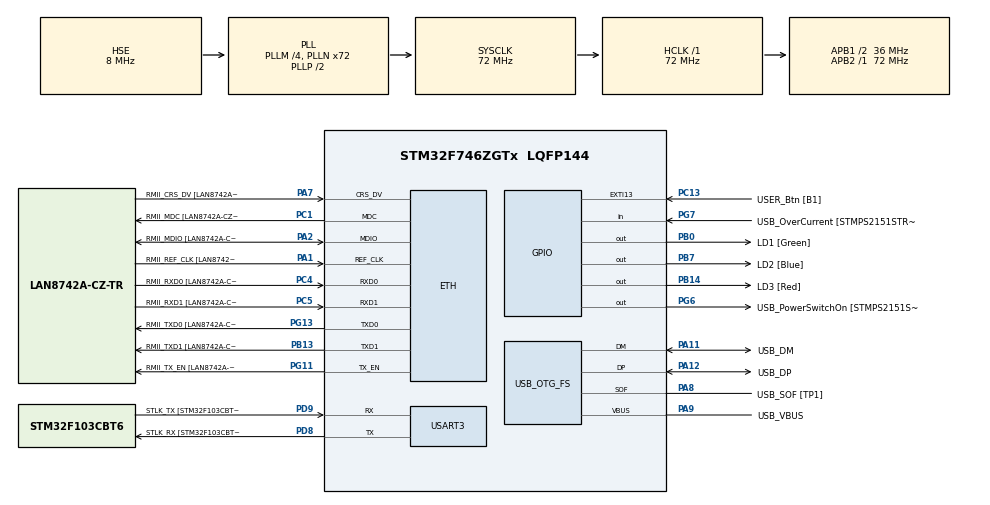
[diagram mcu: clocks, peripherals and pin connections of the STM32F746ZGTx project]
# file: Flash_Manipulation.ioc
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ETH.MediaInterface=ETH_MEDIA_INTERFACE_RMII
ETH.PHY_Name=LAN8742A_PHY_ADDRESS
ETH.PHY_Value=0
ETH.PhyAddress=0
Mcu.Family=STM32F7
Mcu.Name=STM32F746ZGTx
Mcu.Package=LQFP144
NVIC.PriorityGroup=NVIC_PRIORITYGROUP_4
PA1.GPIO_Label=RMII_REF_CLK [LAN8742A-CZ-TR_REFCLK0]
PA1.Mode=RMII
PA1.Signal=ETH_REF_CLK
PA10.GPIO_Label=USB_ID
PA10.Signal=USB_OTG_FS_ID
PA11.GPIO_Label=USB_DM
PA11.Mode=Device_Only
PA11.Signal=USB_OTG_FS_DM
PA12.GPIO_Label=USB_DP
PA12.Mode=Device_Only
PA12.Signal=USB_OTG_FS_DP
PA13.GPIO_Label=TMS
PA13.Mode=Serial_Wire
PA13.Signal=SYS_JTMS-SWDIO
PA14.GPIO_Label=TCK
PA14.Mode=Serial_Wire
PA14.Signal=SYS_JTCK-SWCLK
PA2.GPIO_Label=RMII_MDIO [LAN8742A-CZ-TR_MDIO]
PA2.Mode=RMII
PA2.Signal=ETH_MDIO
PA7.GPIO_Label=RMII_CRS_DV [LAN8742A-CZ-TR_CRS_DV]
PA7.Mode=RMII
PA7.Signal=ETH_CRS_DV
PA8.GPIO_Label=USB_SOF [TP1]
PA8.Mode=Activate_SOF_FS
PA8.Signal=USB_OTG_FS_SOF
PA9.GPIO_Label=USB_VBUS
PA9.Mode=Activate_VBUS
PA9.Signal=USB_OTG_FS_VBUS
PB0.GPIO_Label=LD1 [Green]
PB0.Signal=GPIO_Output
PB13.GPIO_Label=RMII_TXD1 [LAN8742A-CZ-TR_TXD1]
PB13.Mode=RMII
PB13.Signal=ETH_TXD1
PB14.GPIO_Label=LD3 [Red]
PB14.Signal=GPIO_Output
PB3.GPIO_Label=SW0
PB3.Signal=SYS_JTDO-SWO
PB7.GPIO_Label=LD2 [Blue]
PB7.Signal=GPIO_Output
PC1.GPIO_Label=RMII_MDC [LAN8742A-CZ-TR_MDC]
PC1.Mode=RMII
PC1.Signal=ETH_MDC
PC13.GPIO_Label=USER_Btn [B1]
PC13.Signal=GPXTI13
PC14/OSC32_IN.Mode=LSE-External-Oscillator
PC14/OSC32_IN.Signal=RCC_OSC32_IN
PC15/OSC32_OUT.Mode=LSE-External-Oscillator
PC15/OSC32_OUT.Signal=RCC_OSC32_OUT
PC4.GPIO_Label=RMII_RXD0 [LAN8742A-CZ-TR_RXD0]
PC4.Mode=RMII
PC4.Signal=ETH_RXD0
PC5.GPIO_Label=RMII_RXD1 [LAN8742A-CZ-TR_RXD1]
PC5.Mode=RMII
PC5.Signal=ETH_RXD1
PD8.GPIO_Label=STLK_RX [STM32F103CBT6_PA3]
PD8.Mode=Asynchronous
PD8.Signal=USART3_TX
PD9.GPIO_Label=STLK_TX [STM32F103CBT6_PA2]
PD9.Mode=Asynchronous
PD9.Signal=USART3_RX
PG11.GPIO_Label=RMII_TX_EN [LAN8742A-CZ-TR_TXEN]
PG11.Mode=RMII
PG11.Signal=ETH_TX_EN
PG13.GPIO_Label=RMII_TXD0 [LAN8742A-CZ-TR_TXD0]
PG13.Mode=RMII
PG13.Signal=ETH_TXD0
PG6.GPIO_Label=USB_PowerSwitchOn [STMPS2151STR_EN]
PG6.Signal=GPIO_Output
PG7.GPIO_Label=USB_OverCurrent [STMPS2151STR_FAULT]
PG7.Signal=GPIO_Input
PH0/OSC_IN.GPIO_Label=MCO [STM32F103CBT6_PA8]
PH0/OSC_IN.Mode=HSE-External-Clock-Source
PH0/OSC_IN.Signal=RCC_OSC_IN
PH1/OSC_OUT.Mode=HSE-External-Clock-Source
PH1/OSC_OUT.Signal=RCC_OSC_OUT
ProjectManager.HeapSize=0x200
ProjectManager.StackSize=0x400
ProjectManager.TargetToolchain=STM32CubeIDE
RCC.48MHZClocksFreq_Value=24000000
RCC.AHBFreq_Value=72000000
RCC.APB1CLKDivider=RCC_HCLK_DIV2
RCC.APB1Freq_Value=36000000
RCC.APB1TimFreq_Value=72000000
RCC.APB2Freq_Value=72000000
RCC.APB2TimFreq_Value=72000000
RCC.CortexFreq_Value=72000000
RCC.HCLKFreq_Value=72000000
RCC.HSE_VALUE=8000000
RCC.HSI_VALUE=16000000
RCC.PLLM=4
RCC.PLLMUL=RCC_PLL_MUL9
RCC.PLLN=72
RCC.PLLQ=3
RCC.PRESCALERUSB=RCC_USBCLKSOURCE_PLL_DIV1_5
RCC.SYSCLKFreq_VALUE=72000000
RCC.SYSCLKSource=RCC_SYSCLKSOURCE_PLLCLK
RCC.SYSCLKSourceVirtual=RCC_SYSCLKSOURCE_PLLCLK
RCC.USBFreq_Value=48000000
RCC.VCOOutputFreq_Value=144000000
USART3.VirtualMode-Asynchronous=VM_ASYNC
USB_OTG_FS.VirtualMode=Device_Only
board=NUCLEO-F746ZG

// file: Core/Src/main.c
/* USER CODE BEGIN Header */
/**
  ******************************************************************************
  * @file           : main.c
  * @brief          : Main program body
  ******************************************************************************
  * @attention
  *
  * Copyright (c) 2022 STMicroelectronics.
  * All rights reserved.
  *
  * This software is licensed under terms that can be found in the LICENSE file
  * in the root directory of this software component.
  * If no LICENSE file comes with this software, it is provided AS-IS.
  *
  ******************************************************************************
  */
/* USER CODE END Header */
#include "main.h"

/* USER CODE BEGIN Includes */
#include <stdint.h>
#include <string.h>

//#include <string.h>
/* USER CODE END Includes */

ETH_HandleTypeDef heth;

UART_HandleTypeDef huart3;

PCD_HandleTypeDef hpcd_USB_OTG_FS;

void SystemClock_Config(void);
static void MX_GPIO_Init(void);
//static void MX_ETH_Init(void);
static void MX_USART3_UART_Init(void);
static void MX_USB_OTG_FS_PCD_Init(void);
/* USER CODE BEGIN PFP */
uint32_t write_flash (uint8_t *data);
void read_flash (uint8_t *RxBuf);
uint32_t GetSector(uint32_t Address);

/* USER CODE END PFP */

int main(void)
{

  /* MCU Configuration--------------------------------------------------------*/

  /* Reset of all peripherals, Initializes the Flash interface and the Systick. */
  HAL_Init();

  /* Configure the system clock */
  SystemClock_Config();

  /* Initialize all configured peripherals */
  MX_GPIO_Init();
//  MX_ETH_Init();
  MX_USART3_UART_Init();
  MX_USB_OTG_FS_PCD_Init();
  /* USER CODE BEGIN 2 */

//  HAL_Delay(1000);
  char write[50], read[50];
  memset(write, 0, sizeof(write));
  memset(read, 0, sizeof(read));

  strcpy(write, "Testing new write on flash data");

  write_flash((uint8_t*)write);

  read_flash((uint8_t*) read);

  HAL_UART_Transmit(&huart3, (uint8_t *) read, sizeof(write), 10);
  /* USER CODE END 2 */

  /* Infinite loop */
  while (1)
  {

  }
}

void SystemClock_Config(void)
{
  RCC_OscInitTypeDef RCC_OscInitStruct = {0};
  RCC_ClkInitTypeDef RCC_ClkInitStruct = {0};

  /** Configure LSE Drive Capability
  */
  HAL_PWR_EnableBkUpAccess();

  /** Configure the main internal regulator output voltage
  */
  __HAL_RCC_PWR_CLK_ENABLE();
  __HAL_PWR_VOLTAGESCALING_CONFIG(PWR_REGULATOR_VOLTAGE_SCALE3);

  /** Initializes the RCC Oscillators according to the specified parameters
  * in the RCC_OscInitTypeDef structure.
  */
  RCC_OscInitStruct.OscillatorType = RCC_OSCILLATORTYPE_HSE;
  RCC_OscInitStruct.HSEState = RCC_HSE_BYPASS;
  RCC_OscInitStruct.PLL.PLLState = RCC_PLL_ON;
  RCC_OscInitStruct.PLL.PLLSource = RCC_PLLSOURCE_HSE;
  RCC_OscInitStruct.PLL.PLLM = 4;
  RCC_OscInitStruct.PLL.PLLN = 72;
  RCC_OscInitStruct.PLL.PLLP = RCC_PLLP_DIV2;
  RCC_OscInitStruct.PLL.PLLQ = 3;
  if (HAL_RCC_OscConfig(&RCC_OscInitStruct) != HAL_OK)
  {
    Error_Handler();
  }

  /** Initializes the CPU, AHB and APB buses clocks
  */
  RCC_ClkInitStruct.ClockType = RCC_CLOCKTYPE_HCLK|RCC_CLOCKTYPE_SYSCLK
                              |RCC_CLOCKTYPE_PCLK1|RCC_CLOCKTYPE_PCLK2;
  RCC_ClkInitStruct.SYSCLKSource = RCC_SYSCLKSOURCE_PLLCLK;
  RCC_ClkInitStruct.AHBCLKDivider = RCC_SYSCLK_DIV1;
  RCC_ClkInitStruct.APB1CLKDivider = RCC_HCLK_DIV2;
  RCC_ClkInitStruct.APB2CLKDivider = RCC_HCLK_DIV1;

  if (HAL_RCC_ClockConfig(&RCC_ClkInitStruct, FLASH_LATENCY_2) != HAL_OK)
  {
    Error_Handler();
  }
}

//static void MX_ETH_Init(void)
//{
//
//  /* USER CODE BEGIN ETH_Init 0 */
//
//  /* USER CODE END ETH_Init 0 */
//
//   static uint8_t MACAddr[6];
//
//  /* USER CODE BEGIN ETH_Init 1 */
//
//  /* USER CODE END ETH_Init 1 */
//  heth.Instance = ETH;
//  heth.Init.AutoNegotiation = ETH_AUTONEGOTIATION_ENABLE;
//  heth.Init.Speed = ETH_SPEED_100M;
//  heth.Init.DuplexMode = ETH_MODE_FULLDUPLEX;
//  heth.Init.PhyAddress = LAN8742A_PHY_ADDRESS;
//  MACAddr[0] = 0x00;
//  MACAddr[1] = 0x80;
//  MACAddr[2] = 0xE1;
//  MACAddr[3] = 0x00;
//  MACAddr[4] = 0x00;
//  MACAddr[5] = 0x00;
//  heth.Init.MACAddr = &MACAddr[0];
//  heth.Init.RxMode = ETH_RXPOLLING_MODE;
//  heth.Init.ChecksumMode = ETH_CHECKSUM_BY_HARDWARE;
//  heth.Init.MediaInterface = ETH_MEDIA_INTERFACE_RMII;
//
//  /* USER CODE BEGIN MACADDRESS */
//
//  /* USER CODE END MACADDRESS */
//
//  if (HAL_ETH_Init(&heth) != HAL_OK)
//  {
//    Error_Handler();
//  }
//  /* USER CODE BEGIN ETH_Init 2 */
//
//  /* USER CODE END ETH_Init 2 */
//
//}

static void MX_USART3_UART_Init(void)
{

  huart3.Instance = USART3;
  huart3.Init.BaudRate = 115200;
  huart3.Init.WordLength = UART_WORDLENGTH_8B;
  huart3.Init.StopBits = UART_STOPBITS_1;
  huart3.Init.Parity = UART_PARITY_NONE;
  huart3.Init.Mode = UART_MODE_TX_RX;
  huart3.Init.HwFlowCtl = UART_HWCONTROL_NONE;
  huart3.Init.OverSampling = UART_OVERSAMPLING_16;
  huart3.Init.OneBitSampling = UART_ONE_BIT_SAMPLE_DISABLE;
  huart3.AdvancedInit.AdvFeatureInit = UART_ADVFEATURE_NO_INIT;
  if (HAL_UART_Init(&huart3) != HAL_OK)
  {
    Error_Handler();
  }

}

static void MX_USB_OTG_FS_PCD_Init(void)
{

  hpcd_USB_OTG_FS.Instance = USB_OTG_FS;
  hpcd_USB_OTG_FS.Init.dev_endpoints = 6;
  hpcd_USB_OTG_FS.Init.speed = PCD_SPEED_FULL;
  hpcd_USB_OTG_FS.Init.dma_enable = DISABLE;
  hpcd_USB_OTG_FS.Init.phy_itface = PCD_PHY_EMBEDDED;
  hpcd_USB_OTG_FS.Init.Sof_enable = ENABLE;
  hpcd_USB_OTG_FS.Init.low_power_enable = DISABLE;
  hpcd_USB_OTG_FS.Init.lpm_enable = DISABLE;
  hpcd_USB_OTG_FS.Init.vbus_sensing_enable = ENABLE;
  hpcd_USB_OTG_FS.Init.use_dedicated_ep1 = DISABLE;
  if (HAL_PCD_Init(&hpcd_USB_OTG_FS) != HAL_OK)
  {
    Error_Handler();
  }

}

static void MX_GPIO_Init(void)
{
  GPIO_InitTypeDef GPIO_InitStruct = {0};

  /* GPIO Ports Clock Enable */
  __HAL_RCC_GPIOC_CLK_ENABLE();
  __HAL_RCC_GPIOH_CLK_ENABLE();
  __HAL_RCC_GPIOA_CLK_ENABLE();
  __HAL_RCC_GPIOB_CLK_ENABLE();
  __HAL_RCC_GPIOD_CLK_ENABLE();
  __HAL_RCC_GPIOG_CLK_ENABLE();

  /*Configure GPIO pin Output Level */
  HAL_GPIO_WritePin(GPIOB, LD1_Pin|LD3_Pin|LD2_Pin, GPIO_PIN_RESET);

  /*Configure GPIO pin Output Level */
  HAL_GPIO_WritePin(USB_PowerSwitchOn_GPIO_Port, USB_PowerSwitchOn_Pin, GPIO_PIN_RESET);

  /*Configure GPIO pin : USER_Btn_Pin */
  GPIO_InitStruct.Pin = USER_Btn_Pin;
  GPIO_InitStruct.Mode = GPIO_MODE_IT_RISING;
  GPIO_InitStruct.Pull = GPIO_NOPULL;
  HAL_GPIO_Init(USER_Btn_GPIO_Port, &GPIO_InitStruct);

  /*Configure GPIO pins : LD1_Pin LD3_Pin LD2_Pin */
  GPIO_InitStruct.Pin = LD1_Pin|LD3_Pin|LD2_Pin;
  GPIO_InitStruct.Mode = GPIO_MODE_OUTPUT_PP;
  GPIO_InitStruct.Pull = GPIO_NOPULL;
  GPIO_InitStruct.Speed = GPIO_SPEED_FREQ_LOW;
  HAL_GPIO_Init(GPIOB, &GPIO_InitStruct);

  /*Configure GPIO pin : USB_PowerSwitchOn_Pin */
  GPIO_InitStruct.Pin = USB_PowerSwitchOn_Pin;
  GPIO_InitStruct.Mode = GPIO_MODE_OUTPUT_PP;
  GPIO_InitStruct.Pull = GPIO_NOPULL;
  GPIO_InitStruct.Speed = GPIO_SPEED_FREQ_LOW;
  HAL_GPIO_Init(USB_PowerSwitchOn_GPIO_Port, &GPIO_InitStruct);

  /*Configure GPIO pin : USB_OverCurrent_Pin */
  GPIO_InitStruct.Pin = USB_OverCurrent_Pin;
  GPIO_InitStruct.Mode = GPIO_MODE_INPUT;
  GPIO_InitStruct.Pull = GPIO_NOPULL;
  HAL_GPIO_Init(USB_OverCurrent_GPIO_Port, &GPIO_InitStruct);

}

/* USER CODE BEGIN 4 */
uint32_t write_flash(uint8_t *data)
{
	uint32_t StartSectorAddress = 0x08040000;
	uint32_t len = strlen((char *) data);
	static FLASH_EraseInitTypeDef EraseInitStruct;
	uint32_t SECTORError;
	int sofar=0;

	 /* Unlock the Flash to enable the flash control register access *************/
	  HAL_FLASH_Unlock();

	  /* Erase the user Flash area */

	  /* Get the number of sector to erase from 1st sector */

//	  uint32_t StartSector = GetSector(StartSectorAddress);
	  uint32_t EndSectorAddress = StartSectorAddress + len;
	  uint32_t EndSector = GetSector(EndSectorAddress);

	  /* Fill EraseInit structure*/
	  EraseInitStruct.TypeErase     = FLASH_TYPEERASE_SECTORS;
	  EraseInitStruct.VoltageRange  = FLASH_VOLTAGE_RANGE_3;
	  EraseInitStruct.Sector        = FLASH_SECTOR_5;
	  EraseInitStruct.NbSectors     = (EndSector - FLASH_SECTOR_5) + 1;

	  /* Note: If an erase operation in Flash memory also concerns data in the data or instruction cache,
	     you have to make sure that these data are rewritten before they are accessed during code
	     execution. If this cannot be done safely, it is recommended to flush the caches by setting the
	     DCRST and ICRST bits in the FLASH_CR register. */
	  if (HAL_FLASHEx_Erase(&EraseInitStruct, &SECTORError) != HAL_OK)
	  {
		  return HAL_FLASH_GetError ();
	  }

	  /* Program the user Flash area word by word
	    (area defined by FLASH_USER_START_ADDR and FLASH_USER_END_ADDR) ***********/

	   while (sofar<len)
	   {
	     if (HAL_FLASH_Program(FLASH_TYPEPROGRAM_BYTE, StartSectorAddress, data[sofar]) == HAL_OK)
	     {
	    	 StartSectorAddress++;  // use StartPageAddress += 2 for half word and 8 for double word
	    	 sofar++;
	     }
	     else
	     {
	       /* Error occurred while writing data in Flash memory*/
	    	 return HAL_FLASH_GetError ();
	     }
	   }
	  HAL_FLASH_Program(FLASH_TYPEPROGRAM_BYTE, StartSectorAddress, '\0');

	  /* Lock the Flash to disable the flash control register access (recommended
	     to protect the FLASH memory against possible unwanted operation) *********/
	  HAL_FLASH_Lock();

	   return 0;
}

//void read_flash (uint32_t StartSectorAddress, uint32_t *RxBuf, uint16_t size)
//{
//
//	while (1)
//	{
//
//		*RxBuf = *(__IO uint32_t *)StartSectorAddress;
//		StartSectorAddress += 4;
//		RxBuf++;
//		if (!(size--)) break;
//	}
//}

void read_flash(uint8_t *RxBuf)
{
	uint32_t StartSectorAddress = 0x08040000;
	volatile uint8_t read_data;
	volatile uint8_t read_cnt=0;

	do
	{
		read_data = *(uint8_t*) (StartSectorAddress + read_cnt);
		RxBuf[read_cnt] = read_data;
//			RxBuf[read_cnt + 1] = (uint8_t)(read_data >> 8);
//			RxBuf[read_cnt + 2] = (uint8_t)(read_data >> 16);
//			RxBuf[read_cnt + 3] = (uint8_t)(read_data >> 24);
		read_cnt++;
	}while((char) read_data != '\0');

	//HAL_UART_Transmit(&huart3, "End of read loop", 16, 10);
	return;
}

uint32_t GetSector(uint32_t Address)
{
	uint32_t sector = 0;
	if((Address >= 0x08000000) && (Address < 0x08008000))
		sector = FLASH_SECTOR_0;

	else if((Address >= 0x08008000) && (Address < 0x08010000))
		sector = FLASH_SECTOR_1;

	else if((Address >= 0x08010000) && (Address < 0x08018000))
		sector = FLASH_SECTOR_2;

	else if((Address >= 0x08018000) && (Address < 0x08020000))
		sector = FLASH_SECTOR_3;

	else if((Address >= 0x08020000) && (Address < 0x08040000))
		sector = FLASH_SECTOR_4;

	else if((Address >= 0x08040000) && (Address < 0x08080000))
		sector = FLASH_SECTOR_5;

	else if((Address >= 0x08080000) && (Address < 0x080C0000))
		sector = FLASH_SECTOR_6;

	else if((Address >= 0x080C0000) && (Address < 0x08100000))
		sector = FLASH_SECTOR_7;

	return sector;
}

/* USER CODE END 4 */

void Error_Handler(void)
{
  __disable_irq();
  while (1)
  {
  }
}
